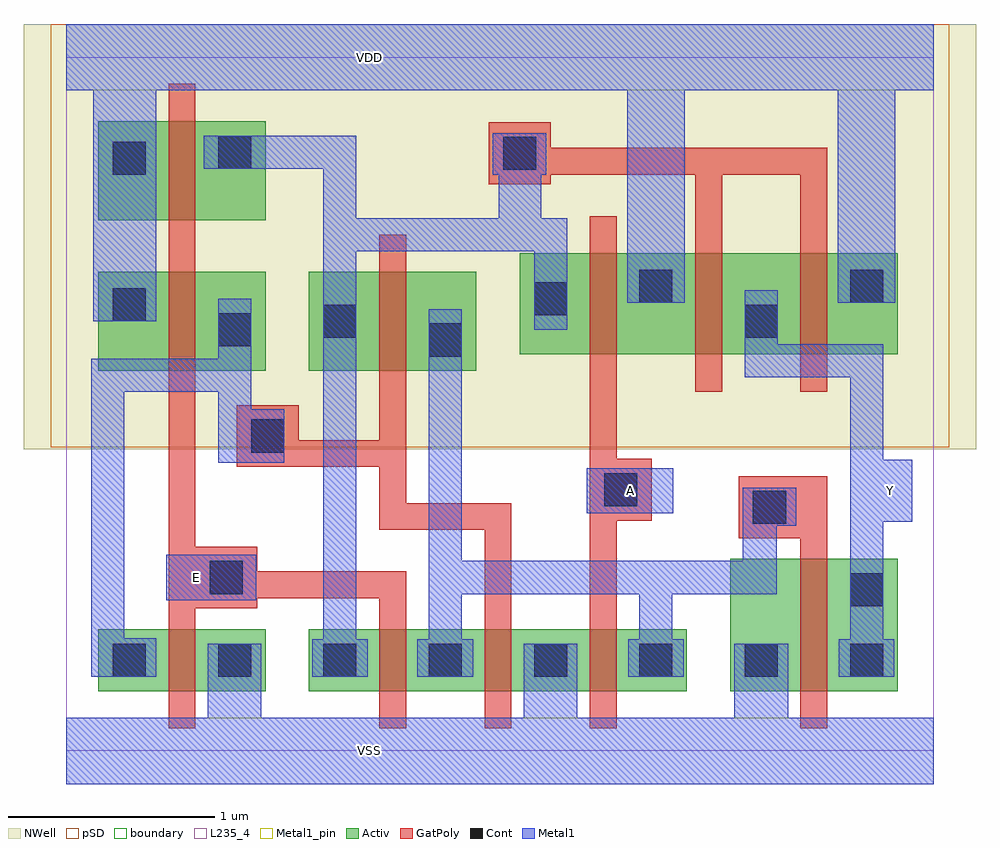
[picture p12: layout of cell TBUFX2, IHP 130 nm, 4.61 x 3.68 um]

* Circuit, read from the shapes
.subckt TBUFX2 A E VDD VSS Y
XM1 VSS E n1 VSUBS sg13_lv_nmos w=0.3u l=0.13u
XM2 n2 E n3 VSUBS sg13_lv_nmos w=0.3u l=0.13u
XM3 VSS n1 n2 VSUBS sg13_lv_nmos w=0.3u l=0.13u
XM4 n2 A VSS VSUBS sg13_lv_nmos w=0.3u l=0.13u
XM5 Y n2 VSS VSUBS sg13_lv_nmos w=0.64u l=0.13u
XM6 n1 E VDD n4 sg13_lv_pmos w=0.48u l=0.13u
XM7 n3 E VDD n4 sg13_lv_pmos w=0.48u l=0.13u
XM8 n2 n1 n3 n4 sg13_lv_pmos w=0.48u l=0.13u
XM9 VDD A n3 n4 sg13_lv_pmos w=0.49u l=0.13u
XM10 Y n3 VDD n4 sg13_lv_pmos w=0.49u l=0.13u m=2
.ends

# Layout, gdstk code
import gdstk
lib = gdstk.Library(unit=1e-6, precision=1e-09)
def R(c, l, rs):  # rectangles x0, y0, x1, y1
    for r in rs: c.add(gdstk.rectangle(r[:2], r[2:], *l))
def A(c, l, x, y, w, h, nx, ny, dx, dy):  # array of equal rectangles
    R(c, l, [(x+i*dx, y+j*dy, x+i*dx+w, y+j*dy+h) for i in range(nx) for j in range(ny)])
def P(c, l, *ps):  # polygons
    for p in ps: c.add(gdstk.Polygon(p, *l))
Activ = (1, 0)
GatPoly = (5, 0)
Cont = (6, 0)
Metal1 = (8, 0)
Metal1_pin = (8, 2)
pSD = (14, 0)
NWell = (31, 0)
boundary = (189, 4)
L235_4 = (235, 4)

tbufx2 = lib.new_cell('TBUFX2')
R(tbufx2, Activ, [(0.155,0.29,0.965,0.59), (1.175,0.29,3.005,0.59), (3.215,0.29,4.025,0.93), (0.155,1.84,0.965,2.32), (1.175,1.84,1.985,2.32), (2.195,1.92,4.025,2.41), (0.155,2.57,0.965,3.05)])
P(tbufx2, GatPoly, [(3.555,0.11),(3.555,1.03),(3.255,1.03),(3.255,1.33),(3.685,1.33),(3.685,0.11)],
  [(3.045,1.74),(3.045,2.79),(2.345,2.79),(2.345,2.745),(2.045,2.745),(2.045,3.045),(2.345,3.045),(2.345,2.92),(3.685,2.92),(3.685,1.74),(3.555,1.74),(3.555,2.79),(3.175,2.79),(3.175,1.74)],
  [(2.535,0.11),(2.535,2.59),(2.665,2.59),(2.665,1.415),(2.835,1.415),(2.835,1.115),(2.665,1.115),(2.665,0.11)],
  [(2.025,0.11),(2.025,1.07),(1.515,1.07),(1.515,1.375),(0.825,1.375),(0.825,1.675),(1.125,1.675),(1.125,1.505),(1.515,1.505),(1.515,2.5),(1.645,2.5),(1.645,1.2),(2.155,1.2),(2.155,0.11)],
  [(0.495,0.11),(0.495,3.23),(0.625,3.23),(0.625,0.99),(0.925,0.99),(0.925,0.87),(1.645,0.87),(1.645,0.11),(1.515,0.11),(1.515,0.74),(0.925,0.74),(0.925,0.69),(0.625,0.69),(0.625,0.11)])
A(tbufx2, Cont, 0.225, 0.36, 0.16, 0.16, 8, 1, 0.51, 0)
R(tbufx2, Cont, [(3.795,0.7,3.955,0.86), (0.695,0.76,0.855,0.92), (3.325,1.1,3.485,1.26), (2.605,1.185,2.765,1.345), (0.895,1.445,1.055,1.605), (1.755,1.91,1.915,2.07), (0.735,1.96,0.895,2.12), (1.245,2,1.405,2.16), (3.285,2,3.445,2.16), (0.225,2.08,0.385,2.24), (2.265,2.11,2.425,2.27), (2.775,2.17,2.935,2.33), (3.795,2.17,3.955,2.33), (0.225,2.79,0.385,2.95), (2.115,2.815,2.275,2.975), (0.735,2.82,0.895,2.98)])
R(tbufx2, Metal1, [(0.485,0.73,0.92,0.95), (2.52,1.15,2.94,1.37)])
P(tbufx2, Metal1, [(0,-0.16),(0,0.16),(0.685,0.16),(0.685,0.52),(0.945,0.52),(0.945,0.16),(2.215,0.16),(2.215,0.52),(2.475,0.52),(2.475,0.16),(3.235,0.16),(3.235,0.52),(3.495,0.52),(3.495,0.16),(4.2,0.16),(4.2,-0.16)],
  [(0.13,2.08),(0.13,3.2),(0,3.2),(0,3.52),(4.2,3.52),(4.2,3.2),(4.015,3.2),(4.015,2.17),(3.735,2.17),(3.735,3.2),(2.995,3.2),(2.995,2.17),(2.715,2.17),(2.715,3.2),(0.435,3.2),(0.435,2.08)],
  [(3.74,0.36),(3.74,0.54),(3.795,0.54),(3.795,1.81),(3.285,1.81),(3.285,2.23),(3.445,2.23),(3.445,1.97),(3.955,1.97),(3.955,1.41),(4.095,1.41),(4.095,1.11),(3.955,1.11),(3.955,0.54),(4.01,0.54),(4.01,0.36)],
  [(1.7,0.36),(1.7,0.54),(1.755,0.54),(1.755,2.14),(1.915,2.14),(1.915,0.92),(3.275,0.92),(3.275,1.275),(3.535,1.275),(3.535,1.09),(3.44,1.09),(3.44,0.76),(2.935,0.76),(2.935,0.54),(2.99,0.54),(2.99,0.36),(2.72,0.36),(2.72,0.54),(2.775,0.54),(2.775,0.76),(1.915,0.76),(1.915,0.54),(1.97,0.54),(1.97,0.36)],
  [(1.19,0.36),(1.19,0.54),(1.245,0.54),(1.245,2.82),(0.665,2.82),(0.665,2.98),(1.405,2.98),(1.405,2.58),(2.095,2.58),(2.095,2.79),(2.065,2.79),(2.065,2.99),(2.325,2.99),(2.325,2.79),(2.3,2.79),(2.3,2.58),(2.425,2.58),(2.425,2.04),(2.265,2.04),(2.265,2.42),(1.405,2.42),(1.405,0.54),(1.46,0.54),(1.46,0.36)],
  [(0.12,0.36),(0.12,1.9),(0.735,1.9),(0.735,2.19),(0.895,2.19),(0.895,1.655),(1.055,1.655),(1.055,1.395),(0.735,1.395),(0.735,1.74),(0.28,1.74),(0.28,0.545),(0.435,0.545),(0.435,0.36)])
R(tbufx2, Metal1_pin, [(0,-0.16,4.2,0.16), (0.485,0.73,0.92,0.95), (2.52,1.15,2.94,1.37), (0,3.2,4.2,3.52)])
P(tbufx2, Metal1_pin, [(3.74,0.36),(3.74,0.54),(3.795,0.54),(3.795,1.81),(3.285,1.81),(3.285,2.23),(3.445,2.23),(3.445,1.97),(3.955,1.97),(3.955,1.41),(4.095,1.41),(4.095,1.11),(3.955,1.11),(3.955,0.54),(4.01,0.54),(4.01,0.36)])
R(tbufx2, pSD, [(-0.075,1.47,4.275,3.52)])
R(tbufx2, NWell, [(-0.205,1.46,4.405,3.52)])
R(tbufx2, boundary, [(0,0,4.2,3.36)])
R(tbufx2, L235_4, [(0,0,4.2,3.36)])
tbufx2.add(gdstk.Label('E', (0.63,0.84), layer=8, texttype=25))
tbufx2.add(gdstk.Label('A', (2.73,1.26), layer=8, texttype=25))
tbufx2.add(gdstk.Label('Y', (3.99,1.26), layer=8, texttype=25))
tbufx2.add(gdstk.Label('VSS', (1.47,0), layer=8, texttype=25))
tbufx2.add(gdstk.Label('VDD', (1.47,3.36), layer=8, texttype=25))

lib.write_gds('TBUFX2.gds')
